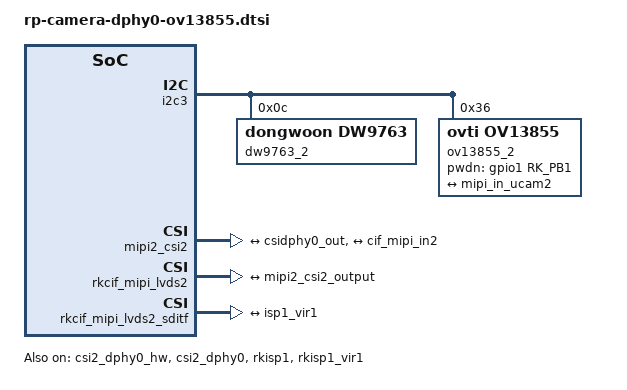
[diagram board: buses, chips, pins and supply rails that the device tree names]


&i2c3 {
    status = "okay";
    pinctrl-names = "default";
    pinctrl-0 = <&i2c3m0_xfer>;

    dw9763_2: dw9763_2@c {
                compatible = "dongwoon,dw9763";
                status = "okay";
                reg = <0x0c>;
                rockchip,vcm-max-current = <120>;   
                rockchip,vcm-start-current = <20>;   
                rockchip,vcm-rated-current = <90>;  
                rockchip,vcm-step-mode = <3>;     
                rockchip,vcm-t-src = <0x20>;
                rockchip,vcm-t-div = <1>;
                rockchip,camera-module-index = <2>;    
                rockchip,camera-module-facing = "front"; 
        };
  
    ov13855_2: ov13855_2@36 {
        compatible = "ovti,ov13855";
        status = "okay";
        reg = <0x36>;
        clocks = <&cru CLK_MIPI_CAMARAOUT_M3>;
        clock-names = "xvclk";
        power-domains = <&power RK3588_PD_VI>;
        pinctrl-names = "default";
        pinctrl-0 = <&mipim0_camera3_clk>;
        rockchip,grf = <&sys_grf>;
        pwdn-gpios = <&gpio1 RK_PB1 GPIO_ACTIVE_HIGH>;
        rockchip,camera-module-index = <2>;
        rockchip,camera-module-facing = "front";
        rockchip,camera-module-name = "CMK-OT2016-FV1";
        rockchip,camera-module-lens-name = "default";
        lens-focus = <&dw9763_2>;
        port {
            ov13855_out2: endpoint {
                remote-endpoint = <&mipi_in_ucam2>;
                data-lanes = <1 2 3 4>;
            };
        };
    };
};

&csi2_dphy0_hw {
    status = "okay";
};

&csi2_dphy0 {
    status = "okay";
    ports {
        #address-cells = <1>;
        #size-cells = <0>;
        port@0 {
            reg = <0>;
            #address-cells = <1>;
            #size-cells = <0>;
            mipi_in_ucam2: endpoint@1 {
                reg = <1>;
                remote-endpoint = <&ov13855_out2>;
                data-lanes = <1 2 3 4>;
            };
        };
        port@1 {
            reg = <1>;
            #address-cells = <1>;
            #size-cells = <0>;
            csidphy0_out: endpoint@0 {
                reg = <0>;
                remote-endpoint = <&mipi2_csi2_input>;
            };
        };
    };
};

&mipi2_csi2 {
    status = "okay";
    ports {
        #address-cells = <1>;
        #size-cells = <0>;
        port@0 {
            reg = <0>;
            #address-cells = <1>;
            #size-cells = <0>;
            mipi2_csi2_input: endpoint@1 {
                reg = <1>;
                remote-endpoint = <&csidphy0_out>;
            };
        };
        port@1 {
            reg = <1>;
            #address-cells = <1>;
            #size-cells = <0>;
            mipi2_csi2_output: endpoint@0 {
                reg = <0>;
                remote-endpoint = <&cif_mipi_in2>;
            };
        };
    };
};


&rkcif_mipi_lvds2 {
    status = "okay";
    port {
        cif_mipi_in2: endpoint {
            remote-endpoint = <&mipi2_csi2_output>;
        };
    };
};

&rkcif_mipi_lvds2_sditf {
    status = "okay";
    port {
        mipi2_lvds_sditf: endpoint {
            remote-endpoint = <&isp1_vir1>;
        };
    };
};

&rkisp1 {
    status = "okay";
};

&isp1_mmu {
    status = "okay";
};

&rkisp1_vir1 {
    status = "okay";
    port {
        #address-cells = <1>;
        #size-cells = <0>;

        isp1_vir1: endpoint@0 {
            reg = <0>;
            remote-endpoint = <&mipi2_lvds_sditf>;
        };
    };
};

